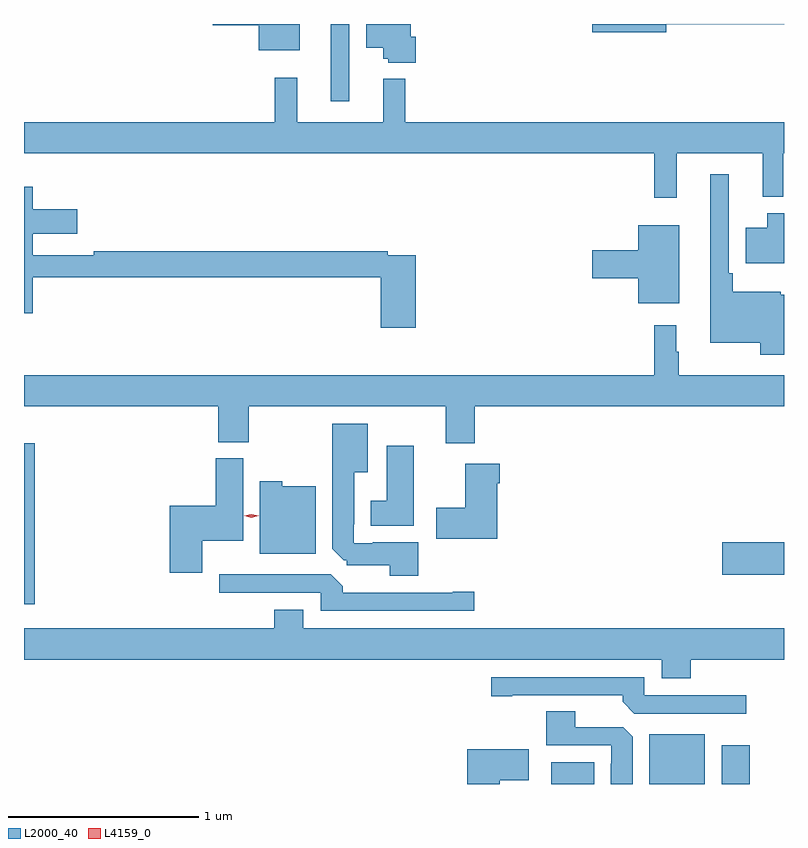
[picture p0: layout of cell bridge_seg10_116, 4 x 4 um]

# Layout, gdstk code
import gdstk
lib = gdstk.Library(unit=1e-6, precision=1e-09)
def R(c, l, rs):  # rectangles x0, y0, x1, y1
    for r in rs: c.add(gdstk.rectangle(r[:2], r[2:], *l))
def P(c, l, *ps):  # polygons
    for p in ps: c.add(gdstk.Polygon(p, *l))
L2000_40 = (2000, 40)
L4159_0 = (4159, 0)

bridge_seg10_116 = lib.new_cell('bridge_seg10_116')
R(bridge_seg10_116, L2000_40, [(400.439,1298.329,400.666,1298.443), (400.955,1298.329,401.248,1298.59), (401.336,1298.329,401.483,1298.533), (397.664,1299.276,397.721,1300.123), (401.34,1299.431,401.664,1299.602), (399.278,1301.922,399.375,1302.329)])
P(bridge_seg10_116, L2000_40, [(399.115,1302.329),(398.658,1302.329),(398.658,1302.323),(398.9,1302.323),(398.9,1302.191),(399.115,1302.191)],
  [(399.725,1302.261),(399.7,1302.261),(399.7,1302.329),(399.464,1302.329),(399.464,1302.203),(399.554,1302.203),(399.554,1302.147),(399.582,1302.147),(399.582,1302.125),(399.725,1302.125)],
  [(401.044,1302.328),(401.664,1302.328),(401.664,1302.329),(400.656,1302.329),(400.656,1302.286),(401.044,1302.286)],
  [(401.099,1301.648),(401.552,1301.648),(401.552,1301.419),(401.66,1301.419),(401.66,1301.648),(401.664,1301.648),(401.664,1301.812),(399.671,1301.812),(399.671,1302.04),(399.554,1302.04),(399.554,1301.812),(399.101,1301.812),(399.101,1302.046),(398.983,1302.046),(398.983,1301.812),(397.664,1301.812),(397.664,1301.648),(400.981,1301.648),(400.981,1301.415),(401.099,1301.415)],
  [(401.664,1300.903),(401.647,1300.903),(401.647,1300.921),(401.393,1300.921),(401.393,1301.017),(401.373,1301.017),(401.373,1301.539),(401.276,1301.539),(401.276,1300.652),(401.538,1300.652),(401.538,1300.587),(401.664,1300.587)],
  [(399.725,1301.112),(399.578,1301.112),(399.578,1301.132),(398.032,1301.132),(398.032,1301.112),(397.709,1301.112),(397.709,1301.225),(397.945,1301.225),(397.945,1301.355),(397.709,1301.355),(397.709,1301.473),(397.664,1301.473),(397.664,1300.806),(397.709,1300.806),(397.709,1300.996),(399.542,1300.996),(399.542,1300.731),(399.725,1300.731)],
  [(401.664,1301.334),(401.576,1301.334),(401.576,1301.257),(401.462,1301.257),(401.462,1301.069),(401.664,1301.069)],
  [(401.113,1301.269),(400.898,1301.269),(400.898,1301.138),(400.656,1301.138),(400.656,1300.991),(400.898,1300.991),(400.898,1300.859),(401.113,1300.859)],
  [(400.037,1300.316),(401.664,1300.316),(401.664,1300.48),(401.11,1300.48),(401.11,1300.604),(401.098,1300.604),(401.098,1300.744),(400.981,1300.744),(400.981,1300.48),(397.664,1300.48),(397.664,1300.316),(398.687,1300.316),(398.687,1300.129),(398.847,1300.129),(398.847,1300.316),(399.884,1300.316),(399.884,1300.122),(400.037,1300.122)],
  [(399.739,1299.601),(399.499,1299.601),(399.499,1299.597),(399.399,1299.597),(399.399,1299.697),(399.403,1299.697),(399.403,1299.971),(399.472,1299.971),(399.472,1300.225),(399.287,1300.225),(399.287,1299.567),(399.347,1299.507),(399.363,1299.507),(399.363,1299.48),(399.59,1299.48),(399.59,1299.425),(399.739,1299.425)],
  [(399.715,1300.108),(399.572,1300.108),(399.572,1299.82),(399.488,1299.82),(399.488,1299.689),(399.715,1299.689)],
  [(398.602,1299.608),(398.818,1299.608),(398.818,1300.044),(398.672,1300.044),(398.672,1299.793),(398.432,1299.793),(398.432,1299.441),(398.602,1299.441)],
  [(400.156,1299.911),(400.169,1299.911),(400.169,1300.015),(399.986,1300.015),(399.986,1299.783),(399.834,1299.783),(399.834,1299.62),(400.156,1299.62)],
  [(399.199,1299.895),(399.024,1299.895),(399.024,1299.922),(398.906,1299.922),(398.906,1299.542),(399.199,1299.542)],
  [(400.033,1299.341),(399.92,1299.341),(399.92,1299.336),(399.341,1299.336),(399.341,1299.37),(399.279,1299.432),(398.691,1299.432),(398.691,1299.336),(399.225,1299.336),(399.225,1299.24),(400.033,1299.24)],
  [(401.174,1298.984),(401.664,1298.984),(401.664,1299.148),(399.133,1299.148),(399.133,1299.247),(398.981,1299.247),(398.981,1299.148),(397.664,1299.148),(397.664,1298.984),(401.021,1298.984),(401.021,1298.885),(401.174,1298.885)],
  [(401.464,1298.796),(400.929,1298.796),(400.929,1298.892),(400.122,1298.892),(400.122,1298.791),(400.234,1298.791),(400.234,1298.796),(400.814,1298.796),(400.814,1298.762),(400.875,1298.7),(401.464,1298.7)],
  [(400.867,1298.579),(400.818,1298.628),(400.564,1298.628),(400.564,1298.711),(400.412,1298.711),(400.412,1298.532),(400.755,1298.532),(400.755,1298.435),(400.751,1298.435),(400.751,1298.329),(400.867,1298.329)],
  [(400.168,1298.35),(400.321,1298.35),(400.321,1298.512),(399.998,1298.512),(399.998,1298.329),(400.168,1298.329)])
P(bridge_seg10_116, L4159_0, [(398.861,1299.731),(398.823,1299.74),(398.823,1299.741),(398.823,1299.741),(398.861,1299.75),(398.899,1299.741),(398.899,1299.74),(398.899,1299.74)])

lib.write_gds('bridge_seg10_116.gds')
